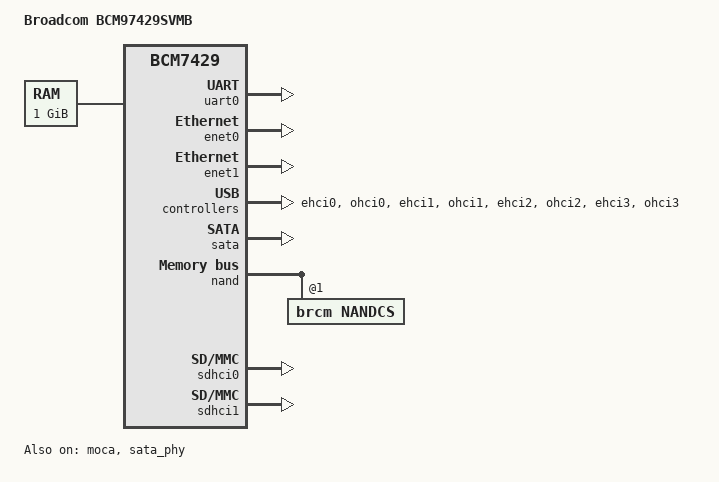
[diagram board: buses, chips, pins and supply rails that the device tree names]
/dts-v1/;

/include/ "bcm7429.dtsi"

/ {
	compatible = "brcm,bcm97429svmb", "brcm,bcm7429";
	model = "Broadcom BCM97429SVMB";

	memory@0 {
		device_type = "memory";
		reg = <0x00000000 0x10000000>,
		      <0x20000000 0x30000000>;
	};

	chosen {
		bootargs = "console=ttyS0,115200 earlyprintk";
		stdout-path = &uart0;
	};
};

&uart0 {
	status = "okay";
};

&enet0 {
	status = "okay";
};

&enet1 {
	status = "okay";
};

&moca {
	status = "okay";

	pinctrl-names = "default";
	pinctrl-0 = <&moca_bsc_m3_pins>;
};

&ehci0 {
	status = "okay";
};

&ohci0 {
	status = "okay";
};

&ehci1 {
	status = "okay";
};

&ohci1 {
	status = "okay";
};

&ehci2 {
	status = "okay";
};

&ohci2 {
	status = "okay";
};

&ehci3 {
	status = "okay";
};

&ohci3 {
	status = "okay";
};

&sata {
	status = "okay";
};

&sata_phy {
	status = "okay";
};

&nand {
	status = "okay";

	nandcs@1 {
		#size-cells = <0x2>;
		#address-cells = <0x2>;
		compatible = "brcm,nandcs";
		reg = <0x1>;
		nand-on-flash-bbt;

		nand-ecc-strength = <4>;
		nand-ecc-step-size = <512>;

		rootfs@0 {
			reg = <0x0 0x0 0x0 0x0>;
		};

		kernel@1 {
		        reg = <0x0 0x0 0x0 0x0>;
		};

		flash@0 {
			reg = <0x0 0x0 0x1 0x0>;
		};
	};
};

&sdhci0 {
	status = "okay";

	pinctrl-names = "default";
	pinctrl-0 = <&sdio0_core_pins>;
};

&sdhci1 {
	status = "okay";
};

&brcm_pmx_core {
	status = "okay";

	sdio0_core_pins: pinmux_sdio0_pins {
		pinctrl-single,bits = <
			0x2c 0x00050000 0x000f0000 /* gpio_092 <- SDIO0_VCTL */
			0x38 0x00100000 0x00f00000 /* gpio_122 <- SDIO0_CMD */
			0x38 0x01000000 0x0f000000 /* gpio_123 <- SDIO0_WPROT */
			0x38 0x10000000 0xf0000000 /* gpio_124 <- SDIO0_PWR0 */
			0x3c 0x00000001 0x0000000f /* gpio_125 <- SDIO0_CLK */
			0x3c 0x00000010 0x000000f0 /* gpio_126 <- SDIO0_DATA0 */
			0x3c 0x00000100 0x00000f00 /* gpio_127 <- SDIO0_DATA1 */
			0x3c 0x00001000 0x0000f000 /* gpio_128 <- SDIO0_DATA2 */
			0x3c 0x00010000 0x000f0000 /* gpio_129 <- SDIO0_DATA3 */
			0x3c 0x00100000 0x00f00000 /* gpio_130 <- SDIO0_PRES */
			0x3c 0x01000000 0x0f000000 /* gpio_131 <- SDIO0_LED */

			0x6c 0x00008000 0x0000c000 /* gpio_122 <- SDIO0_CMD */
			0x6c 0x00020000 0x00030000 /* gpio_123 <- SDIO0_WPROT */
			0x6c 0x00080000 0x000c0000 /* gpio_124 <- SDIO0_PWR0 */
			0x6c 0x00200000 0x00300000 /* gpio_125 <- SDIO0_CLK */
			0x6c 0x00800000 0x00c00000 /* gpio_126 <- SDIO0_DAT0 */
			0x6c 0x02000000 0x03000000 /* gpio_127 <- SDIO0_DAT1 */
			0x6c 0x08000000 0x0c000000 /* gpio_128 <- SDIO0_DAT2 */
			0x6c 0x20000000 0x30000000 /* gpio_129 <- SDIO0_DAT3 */
			0x70 0x00000002 0x00000003 /* gpio_130 <- SDIO0_PRES */
			0x70 0x00000008 0x0000000c /* gpio_131 <- SDIO0_LED */
		>;
	};

	moca_bsc_m3_pins: pinmux_moca_bsc_m3_pins {
		pinctrl-single,bits = <
			0x48 0x00000010 0x000000f0 /* sgpio_00 <- BSC_M3_SCL */
			0x48 0x00000100 0x00000f00 /* sgpio_01 <- BSC_M3_SDA */
		>;
	};
};

&brcm_pmx_hif_emmc_pinctrl {
	status = "okay";

	pinctrl-names = "default";
	pinctrl-0 = <&hif_emmc_pins>;
	hif_emmc_pins: pinmux_all_pins {
		pinctrl-single,bits = <
			0x0 0x00000001 0xffffffff /* HIF_TOP_CTRL.EMMC_PIN_SEL*/
		>;
	};
};
